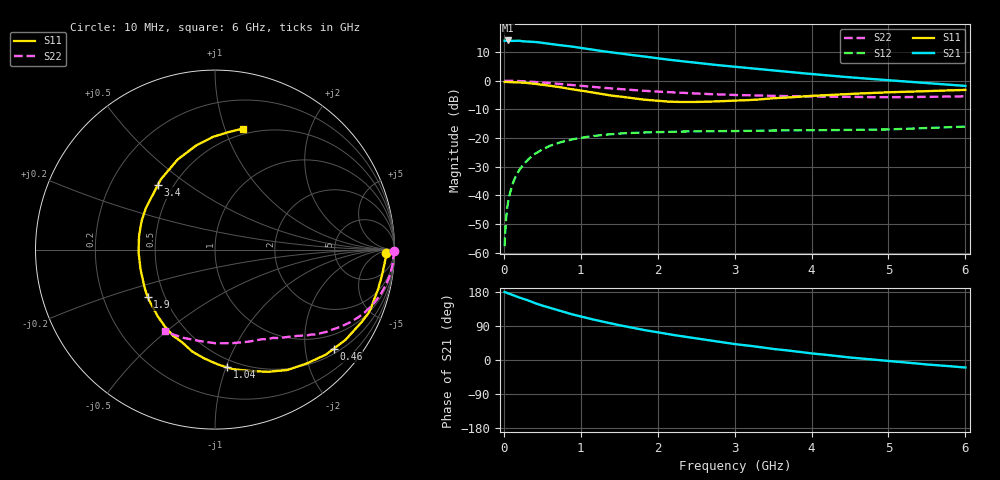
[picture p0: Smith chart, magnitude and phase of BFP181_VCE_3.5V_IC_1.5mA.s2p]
! Infineon Technologies  Discrete & RF Semiconductors
! BFP181
! VCE = 3.5 V,  IC =  1.5 mA
! Common Emitter S-Parameters:  Jan 2016
# GHz  S  MA  R  50
!  f  S11  S21  S12  S22
! GHz  MAG  ANG  MAG  ANG  MAG  ANG  MAG  ANG
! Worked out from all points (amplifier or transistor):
!   210 points, 10 MHz to 6 GHz, reference 50 ohm
!   highest |S21| = 14.0 dB at 50 MHz (marker M1)
!   |S21| within 3 dB of that: start of sweep to 1.109 GHz
!   unconditionally stable (mu >= 1): 2.716 GHz to end of sweep
!   at 185 MHz: K = 0.09, MSG = 22.9 dB, |S12| = -31.9 dB
!   at 1.52 GHz: K = 0.61, MSG = 14.0 dB, |S12| = -18.4 dB
!   at 6 GHz: K = 1.20, MAG = 4.4 dB, |S12| = -16.0 dB
!   S11 on the Smith chart (normalised r, x): 10 MHz: 36, -13; 460 MHz: 0.61, -2.63; 1.04 GHz: 0.43, -1.01; 1.9 GHz: 0.40, -0.27; 3.4 GHz: 0.41, +0.39; 6 GHz: 0.45, +1.15
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0.01  0.9514 -1.0  4.977 179.5  0.0013 81.9  0.9982 -0.3
0.03  0.9524 -2.8  4.999 178.1  0.004 90.6  0.9969 -1.2
0.05  0.9488 -4.3  5.03 176.3  0.0069 91.1  0.9951 -2.0
0.115  0.939 -10.3  4.941 171.5  0.0158 81.8  0.993 -4.7
0.19  0.9301 -16.7  4.966 165.8  0.0262 79.5  0.9864 -7.7
0.4  0.8836 -34.8  4.758 150.5  0.0526 68.3  0.9532 -15.7
0.46  0.8617 -39.9  4.636 146.4  0.0587 65.0  0.9399 -17.7
0.6  0.8158 -50.9  4.405 137.5  0.0732 58.3  0.9083 -22.3
0.8  0.7425 -66.5  4.073 125.3  0.0889 50.5  0.8599 -27.8
0.9  0.7037 -73.9  3.916 119.8  0.0955 46.6  0.8336 -30.3
1.02  0.6665 -82.8  3.693 113.7  0.1015 42.6  0.8048 -33.0
1.04  0.6593 -84.2  3.663 112.7  0.1026 42.0  0.8004 -33.4
1.26  0.5924 -99.6  3.308 102.4  0.1123 35.7  0.7574 -37.7
1.5  0.5332 -116.2  3.009 91.9  0.1195 30.2  0.7135 -41.6
1.9  0.4595 -144.8  2.566 76.5  0.1259 23.3  0.6557 -47.4
2.02  0.4432 -152.9  2.437 72.4  0.1274 21.9  0.6438 -48.8
2.42  0.4256 -179.2  2.109 59.4  0.1306 17.2  0.6065 -54.4
3.1  0.4535 144.1  1.698 39.8  0.1329 12.3  0.5589 -64.0
3.4  0.4804 131.4  1.55 32.1  0.1348 11.0  0.5482 -68.6
4.1  0.551 109.8  1.273 15.5  0.1369 8.3  0.5273 -81.3
5.1  0.633 89.6  0.995 -4.4  0.1428 7.6  0.5164 -102.1
6  0.691 77.1  0.811 -19.9  0.1583 6.8  0.5349 -121.5
